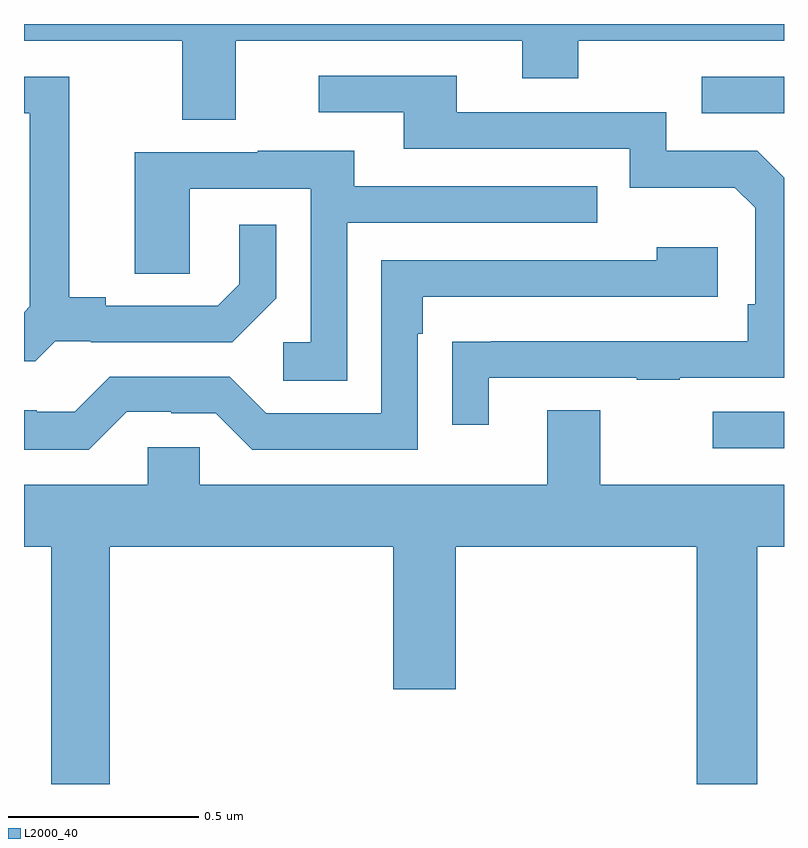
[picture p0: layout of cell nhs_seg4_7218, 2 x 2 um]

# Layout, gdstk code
import gdstk
lib = gdstk.Library(unit=1e-6, precision=1e-09)
def R(c, l, rs):  # rectangles x0, y0, x1, y1
    for r in rs: c.add(gdstk.rectangle(r[:2], r[2:], *l))
def P(c, l, *ps):  # polygons
    for p in ps: c.add(gdstk.Polygon(p, *l))
L2000_40 = (2000, 40)

nhs_seg4_7218 = lib.new_cell('nhs_seg4_7218')
R(nhs_seg4_7218, L2000_40, [(201.813,759.783,202,759.879), (201.783,760.665,202,760.761)])
P(nhs_seg4_7218, L2000_40, [(200.557,760.856),(201.311,760.856),(201.311,760.757),(201.459,760.757),(201.459,760.856),(202,760.856),(202,760.9),(200,760.9),(200,760.856),(200.417,760.856),(200.417,760.648),(200.557,760.648)],
  [(201.223,759.969),(201.613,759.969),(201.613,759.964),(201.725,759.964),(201.725,759.969),(202,759.969),(202,760.496),(201.93,760.566),(201.69,760.566),(201.69,760.668),(201.139,760.668),(201.139,760.764),(200.775,760.764),(200.775,760.668),(200.999,760.668),(200.999,760.572),(201.594,760.572),(201.594,760.469),(201.871,760.469),(201.924,760.416),(201.924,760.162),(201.904,760.162),(201.904,760.065),(201.229,760.065),(201.229,760.064),(201.127,760.064),(201.127,759.846),(201.223,759.846)],
  [(200.082,760.065),(200.176,760.065),(200.176,760.062),(200.548,760.062),(200.664,760.178),(200.664,760.372),(200.567,760.372),(200.567,760.215),(200.51,760.158),(200.215,760.158),(200.215,760.181),(200.119,760.181),(200.119,760.761),(200,760.761),(200,760.665),(200.015,760.665),(200.015,760.157),(200,760.142),(200,760.013),(200.03,760.013)],
  [(200.85,760.377),(201.509,760.377),(201.509,760.473),(200.869,760.473),(200.869,760.567),(200.615,760.567),(200.615,760.563),(200.291,760.563),(200.291,760.243),(200.436,760.243),(200.436,760.467),(200.754,760.467),(200.754,760.062),(200.682,760.062),(200.682,759.961),(200.85,759.961)],
  [(200.271,759.879),(200.387,759.879),(200.387,759.876),(200.505,759.876),(200.601,759.78),(201.036,759.78),(201.036,760.085),(201.049,760.085),(201.049,760.182),(201.826,760.182),(201.826,760.312),(201.665,760.312),(201.665,760.278),(200.94,760.278),(200.94,759.876),(200.637,759.876),(200.541,759.972),(200.226,759.972),(200.133,759.879),(200.033,759.879),(200.033,759.883),(200,759.883),(200,759.779),(200.171,759.779)],
  [(200.225,759.524),(200.972,759.524),(200.972,759.15),(201.136,759.15),(201.136,759.524),(201.77,759.524),(201.77,758.9),(201.93,758.9),(201.93,759.524),(202,759.524),(202,759.688),(201.517,759.688),(201.517,759.883),(201.377,759.883),(201.377,759.688),(200.463,759.688),(200.463,759.786),(200.325,759.786),(200.325,759.688),(200,759.688),(200,759.524),(200.072,759.524),(200.072,758.9),(200.225,758.9)])

lib.write_gds('nhs_seg4_7218.gds')
